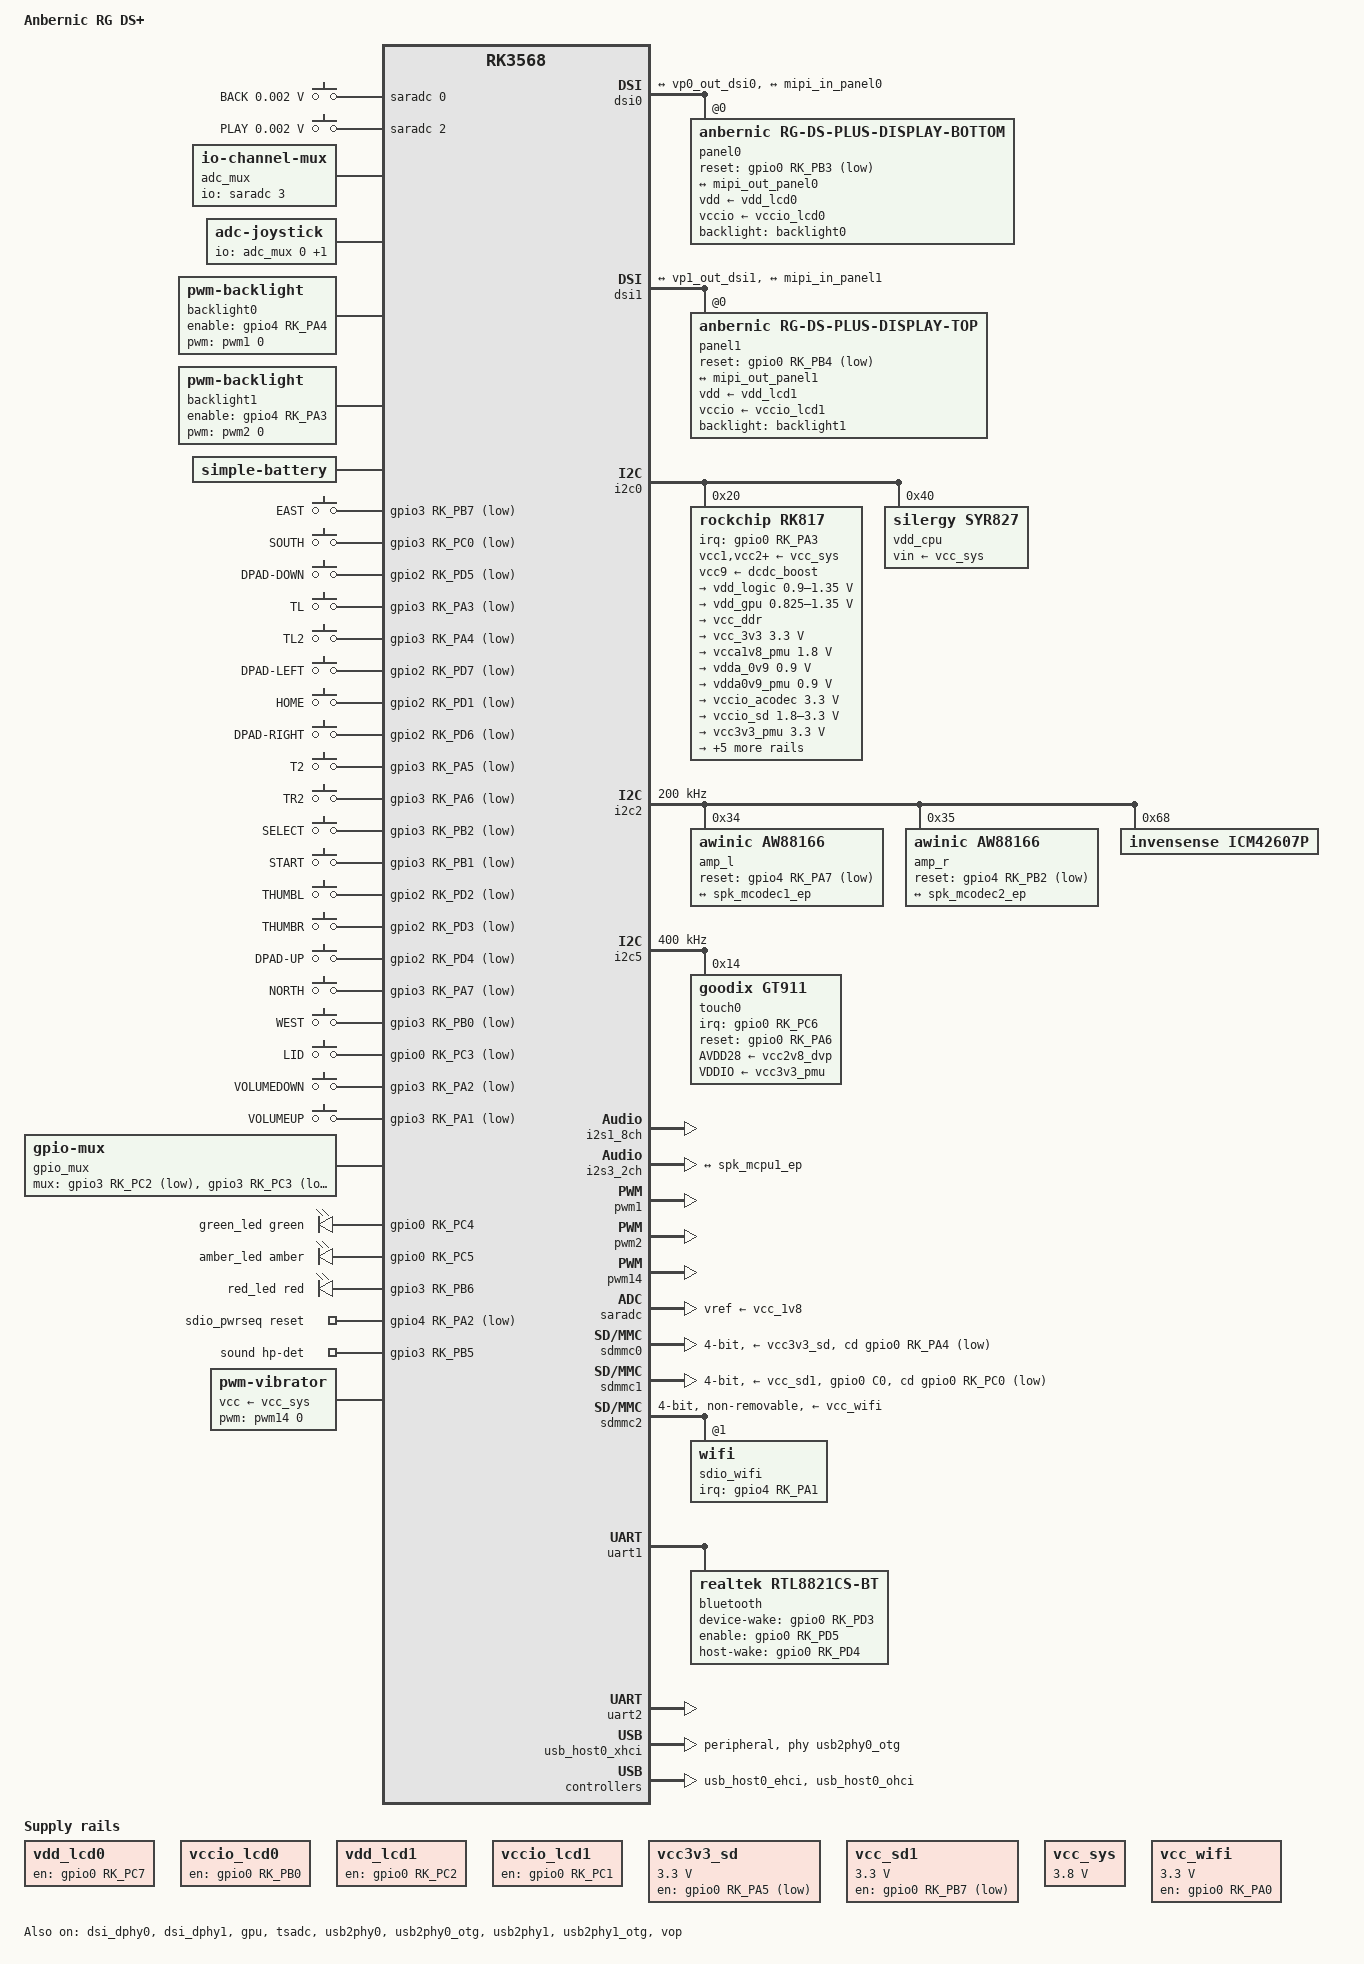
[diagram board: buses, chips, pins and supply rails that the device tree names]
// SPDX-License-Identifier: (GPL-2.0+ OR MIT)
/*
 * Anbernic RG DS+ (RK3568, two 1024x768 MIPI-DSI panels, one touch screen).
 *
 * Derived from the mainline rk3568-anbernic-rg-ds.dts. The board is the same
 * family: buttons, sticks, lid sensor, panel power/reset and Wi-Fi/BT sit on the
 * same pins. Differences below come from the DS+ stock firmware's device tree
 * (V1.0 20260915) and were checked on a device:
 *  - panels: Jadard JD9165, 1024x768, top panel mounted rotated 180 degrees
 *  - backlights on pwm1/pwm2 (GPIO0_B5/B6), where the RG DS has touch pins
 *  - one GT9xx touch screen on i2c5, reset GPIO0_A6, irq GPIO0_C6
 *  - speakers: two AW88166 smart amps on i2c2 0x34/0x35, fed by I2S3 (m1)
 *  - headphone detect on GPIO3_B5; status LEDs are plain GPIOs
 *  - a second microSD slot (sdmmc1, TF2); no eMMC
 */

/dts-v1/;

#include <dt-bindings/gpio/gpio.h>
#include <dt-bindings/input/gpio-keys.h>
#include <dt-bindings/input/linux-event-codes.h>
#include <dt-bindings/leds/common.h>
#include <dt-bindings/pinctrl/rockchip.h>
#include <dt-bindings/soc/rockchip,vop2.h>
#include "rk3568.dtsi"

/ {
	model = "Anbernic RG DS+";
	chassis-type = "handset";
	compatible = "anbernic,rg-ds-plus", "rockchip,rk3568";

	/* TF1 (the boot card) is mmc0, TF2 is mmc1. */
	aliases {
		mmc0 = &sdmmc0;
		mmc1 = &sdmmc1;
		mmc2 = &sdmmc2;
	};

	chosen: chosen {
		stdout-path = "serial2:1500000n8";
	};

	/*
	 * U-Boot's boot-stage timings (BOOTSTAGE_STASH) and, in a MEASURE build,
	 * its console log at +0x4000; readable via /dev/mem.
	 */
	reserved-memory {
		#address-cells = <2>;
		#size-cells = <2>;
		ranges;

		bootstage@f000000 {
			reg = <0x0 0x0f000000 0x0 0x20000>;
			no-map;
		};
	};

	/* The stock DS+ firmware gives this key KEY_BACK (the RG DS tree, BTN_MODE). */
	adc_keys_back: adc-keys-back {
		compatible = "adc-keys";
		io-channel-names = "buttons";
		io-channels = <&saradc 0>;
		keyup-threshold-microvolt = <1800000>;
		poll-interval = <60>;

		button-back {
			label = "BACK";
			linux,code = <KEY_BACK>;
			press-threshold-microvolt = <1750>;
		};
	};

	adc_keys_play: adc-keys-play {
		compatible = "adc-keys";
		io-channel-names = "buttons";
		io-channels = <&saradc 2>;
		keyup-threshold-microvolt = <1300000>;
		poll-interval = <60>;

		button-play {
			label = "PLAY";
			linux,code = <KEY_PLAYPAUSE>;
			press-threshold-microvolt = <1750>;
		};
	};

	adc_mux: adc-mux {
		compatible = "io-channel-mux";
		channels = "left_x", "right_x", "left_y", "right_y";
		#io-channel-cells = <1>;
		io-channels = <&saradc 3>;
		io-channel-names = "parent";
		mux-controls = <&gpio_mux>;
		settle-time-us = <100>;
	};

	/*
	 * The DS+ has one stick. The mux's other two inputs read the same stick
	 * again (channel 1 follows channel 0, channel 3 follows channel 2), so
	 * only channels 0 (horizontal) and 2 (vertical) are used. Vertical reads
	 * the other way round from the RG DS's left stick.
	 */
	adc-joystick {
		compatible = "adc-joystick";
		#address-cells = <1>;
		io-channels = <&adc_mux 0>,
			      <&adc_mux 2>;
		pinctrl-0 = <&joy_mux_en>;
		pinctrl-names = "default";
		poll-interval = <60>;
		#size-cells = <0>;

		axis@0 {
			reg = <0>;
			abs-flat = <32>;
			abs-fuzz = <32>;
			abs-range = <1023 15>;
			linux,code = <ABS_X>;
		};

		axis@1 {
			reg = <1>;
			abs-flat = <32>;
			abs-fuzz = <32>;
			abs-range = <1023 15>;
			linux,code = <ABS_Y>;
		};
	};

	backlight0: backlight0 {
		compatible = "pwm-backlight";
		enable-gpios = <&gpio4 RK_PA4 GPIO_ACTIVE_HIGH>;
		pinctrl-0 = <&bl0_en_h>;
		pinctrl-names = "default";
		pwms = <&pwm1 0 25000 0>;
	};

	backlight1: backlight1 {
		compatible = "pwm-backlight";
		enable-gpios = <&gpio4 RK_PA3 GPIO_ACTIVE_HIGH>;
		pinctrl-0 = <&bl1_en_h>;
		pinctrl-names = "default";
		pwms = <&pwm2 0 25000 0>;
	};

	/*
	 * As on the RG DS, except the design capacity, which the DS+ stock
	 * firmware gives as 4247 mAh (rk817 design_capacity and cw2015
	 * battery_cap). The OCV table is the RG DS one until measured.
	 *
	 * The charge current is the stock firmware's (its BSP charger node:
	 * max_chrg_current 2000 mA, max_input_current 1500 mA, which the
	 * driver also uses); the RG DS value this replaced, 10 A, was a
	 * placeholder. The voltage is the cell's 4.35 V (the stock charger
	 * node asks for 4.4 V, above it). docs/engineering/battery.md.
	 */
	battery: battery {
		compatible = "simple-battery";
		charge-full-design-microamp-hours = <4247000>;
		charge-term-current-microamp = <300000>;
		constant-charge-current-max-microamp = <2000000>;
		constant-charge-voltage-max-microvolt = <4350000>;
		factory-internal-resistance-micro-ohms = <80000>;
		precharge-current-microamp = <180000>;
		precharge-upper-limit-microvolt = <3600000>;
		voltage-max-design-microvolt = <4350000>;
		voltage-min-design-microvolt = <3000000>;

		/*
		 * BSP device-tree missing value for 5 percent, so I
		 * picked a value between 10 and 0.
		 */
		ocv-capacity-celsius = <20>;
		ocv-capacity-table-0 =  <4338000 100>, <4251000 95>,
					<4191000 90>, <4136000 85>,
					<4083000 80>, <4039000 75>,
					<3978000 70>, <3947000 65>,
					<3908000 60>, <3861000 55>,
					<3826000 50>, <3786000 45>,
					<3772000 40>, <3761000 35>,
					<3749000 30>, <3731000 25>,
					<3707000 20>, <3677000 15>,
					<3663000 10>, <3446000 5>,
					<3400000 0>;
	};

	gpio_keys_control: gpio-keys-control {
		compatible = "gpio-keys";
		pinctrl-0 = <&gamepad_keys_l>;
		pinctrl-names = "default";

		button-a {
			gpios = <&gpio3 RK_PB7 GPIO_ACTIVE_LOW>;
			label = "EAST";
			linux,code = <BTN_EAST>;
		};

		button-b {
			gpios = <&gpio3 RK_PC0 GPIO_ACTIVE_LOW>;
			label = "SOUTH";
			linux,code = <BTN_SOUTH>;
		};

		button-down {
			gpios = <&gpio2 RK_PD5 GPIO_ACTIVE_LOW>;
			label = "DPAD-DOWN";
			linux,code = <BTN_DPAD_DOWN>;
		};

		button-l1 {
			gpios = <&gpio3 RK_PA3 GPIO_ACTIVE_LOW>;
			label = "TL";
			linux,code = <BTN_TL>;
		};

		button-l2 {
			gpios = <&gpio3 RK_PA4 GPIO_ACTIVE_LOW>;
			label = "TL2";
			linux,code = <BTN_TL2>;
		};

		button-left {
			gpios = <&gpio2 RK_PD7 GPIO_ACTIVE_LOW>;
			label = "DPAD-LEFT";
			linux,code = <BTN_DPAD_LEFT>;
		};

		button-menu {
			gpios = <&gpio2 RK_PD1 GPIO_ACTIVE_LOW>;
			label = "HOME";
			linux,code = <KEY_HOME>;
		};

		button-right {
			gpios = <&gpio2 RK_PD6 GPIO_ACTIVE_LOW>;
			label = "DPAD-RIGHT";
			linux,code = <BTN_DPAD_RIGHT>;
		};

		button-r1 {
			gpios = <&gpio3 RK_PA5 GPIO_ACTIVE_LOW>;
			label = "T2";
			linux,code = <BTN_TR>;
		};

		button-r2 {
			gpios = <&gpio3 RK_PA6 GPIO_ACTIVE_LOW>;
			label = "TR2";
			linux,code = <BTN_TR2>;
		};

		button-select {
			gpios = <&gpio3 RK_PB2 GPIO_ACTIVE_LOW>;
			label = "SELECT";
			linux,code = <BTN_SELECT>;
		};

		button-start {
			gpios = <&gpio3 RK_PB1 GPIO_ACTIVE_LOW>;
			label = "START";
			linux,code = <BTN_START>;
		};

		button-thumbl {
			gpios = <&gpio2 RK_PD2 GPIO_ACTIVE_LOW>;
			label = "THUMBL";
			linux,code = <BTN_THUMBL>;
		};

		button-thumbr {
			gpios = <&gpio2 RK_PD3 GPIO_ACTIVE_LOW>;
			label = "THUMBR";
			linux,code = <BTN_THUMBR>;
		};

		button-up {
			gpios = <&gpio2 RK_PD4 GPIO_ACTIVE_LOW>;
			label = "DPAD-UP";
			linux,code = <BTN_DPAD_UP>;
		};

		button-x {
			gpios = <&gpio3 RK_PA7 GPIO_ACTIVE_LOW>;
			label = "NORTH";
			linux,code = <BTN_NORTH>;
		};

		button-y {
			gpios = <&gpio3 RK_PB0 GPIO_ACTIVE_LOW>;
			label = "WEST";
			linux,code = <BTN_WEST>;
		};
	};

	gpio_keys_hall: gpio-keys-hall {
		compatible = "gpio-keys";
		pinctrl-0 = <&hall_int_l>;
		pinctrl-names = "default";

		lid-switch {
			gpios = <&gpio0 RK_PC3 GPIO_ACTIVE_LOW>;
			label = "LID";
			linux,code = <SW_LID>;
			linux,input-type = <EV_SW>;
			wakeup-event-action = <EV_ACT_DEASSERTED>;
			wakeup-source;
		};
	};

	gpio_keys_volume: gpio-keys-volume {
		compatible = "gpio-keys";
		autorepeat;
		pinctrl-0 = <&vol_keys_l>;
		pinctrl-names = "default";

		vol-down-key {
			gpios = <&gpio3 RK_PA2 GPIO_ACTIVE_LOW>;
			label = "VOLUMEDOWN";
			linux,code = <KEY_VOLUMEDOWN>;
		};

		vol-up-key {
			gpios = <&gpio3 RK_PA1 GPIO_ACTIVE_LOW>;
			label = "VOLUMEUP";
			linux,code = <KEY_VOLUMEUP>;
		};
	};

	gpio_mux: mux-controller {
		compatible = "gpio-mux";
		#mux-control-cells = <0>;
		mux-gpios = <&gpio3 RK_PC2 GPIO_ACTIVE_LOW>,
			    <&gpio3 RK_PC3 GPIO_ACTIVE_LOW>;
		pinctrl-0 = <&joy_mux_config>;
		pinctrl-names = "default";
	};

	leds: gpio-leds {
		compatible = "gpio-leds";
		pinctrl-0 = <&led_pins>;
		pinctrl-names = "default";

		green_led: led-0 {
			color = <LED_COLOR_ID_GREEN>;
			default-state = "on";
			function = LED_FUNCTION_POWER;
			gpios = <&gpio0 RK_PC4 GPIO_ACTIVE_HIGH>;
		};

		/*
		 * Lit while the charger is plugged in, asleep too: leds-gpio
		 * would turn it off at suspend. GPIO0 is in the PMU domain and
		 * keeps its level in deep sleep; plugging in or out wakes the
		 * device (the RK817's interrupt), which sets it again.
		 */
		amber_led: led-1 {
			color = <LED_COLOR_ID_AMBER>;
			function = LED_FUNCTION_CHARGING;
			gpios = <&gpio0 RK_PC5 GPIO_ACTIVE_HIGH>;
			retain-state-suspended;
		};

		red_led: led-2 {
			color = <LED_COLOR_ID_RED>;
			default-state = "off";
			function = LED_FUNCTION_STATUS;
			gpios = <&gpio3 RK_PB6 GPIO_ACTIVE_HIGH>;
		};
	};

	sdio_pwrseq: sdio-pwrseq {
		compatible = "mmc-pwrseq-simple";
		clock-names = "ext_clock";
		clocks = <&rk817 1>;
		pinctrl-0 = <&wifi_enable_h>;
		pinctrl-names = "default";
		post-power-on-delay-ms = <200>;
		reset-gpios = <&gpio4 RK_PA2 GPIO_ACTIVE_LOW>;
	};

	/* Headphones and microphone, through the RK817 codec. */
	sound {
		compatible = "simple-audio-card";
		pinctrl-0 = <&hp_det>;
		pinctrl-names = "default";
		simple-audio-card,format = "i2s";
		simple-audio-card,hp-det-gpios = <&gpio3 RK_PB5 GPIO_ACTIVE_HIGH>;
		simple-audio-card,mclk-fs = <256>;
		simple-audio-card,name = "rk817_ext";
		simple-audio-card,routing =
			"MICL", "Mic Jack",
			"Headphones", "HPOL",
			"Headphones", "HPOR";
		simple-audio-card,widgets =
			"Microphone", "Mic Jack",
			"Headphone", "Headphones";

		simple-audio-card,codec {
			sound-dai = <&rk817>;
		};

		simple-audio-card,cpu {
			sound-dai = <&i2s1_8ch>;
		};
	};

	/*
	 * Internal speakers: two AW88166 smart amps on I2S3, both fed the same
	 * stereo stream (each picks its channel). simple-audio-card takes one codec
	 * per link, so this is an audio-graph-card2 one-CPU, two-codec link.
	 */
	sound-speakers {
		compatible = "audio-graph-card2";
		label = "speakers";
		links = <&spk_mcpu>;

		multi {
			#address-cells = <1>;
			#size-cells = <0>;

			ports@0 {
				reg = <0>;
				#address-cells = <1>;
				#size-cells = <0>;

				spk_mcpu: port@0 {
					reg = <0>;
					spk_mcpu0_ep: endpoint {
						remote-endpoint = <&spk_mcodec0_ep>;
					};
				};

				port@1 {
					reg = <1>;
					spk_mcpu1_ep: endpoint {
						remote-endpoint = <&i2s3_ep>;
					};
				};
			};

			ports@1 {
				reg = <1>;
				#address-cells = <1>;
				#size-cells = <0>;

				port@0 {
					reg = <0>;
					spk_mcodec0_ep: endpoint {
						remote-endpoint = <&spk_mcpu0_ep>;
					};
				};

				port@1 {
					reg = <1>;
					spk_mcodec1_ep: endpoint {
						remote-endpoint = <&amp_l_ep>;
					};
				};

				port@2 {
					reg = <2>;
					spk_mcodec2_ep: endpoint {
						remote-endpoint = <&amp_r_ep>;
					};
				};
			};
		};
	};

	vdd_lcd0: regulator-vdd-lcd0 {
		compatible = "regulator-fixed";
		enable-active-high;
		gpio = <&gpio0 RK_PC7 GPIO_ACTIVE_HIGH>;
		pinctrl-0 = <&vdd_lcd0_h>;
		pinctrl-names = "default";
		regulator-name = "vdd_lcd0";
		regulator-state-mem {
			regulator-off-in-suspend;
		};
	};

	vccio_lcd0: regulator-vccio-lcd0 {
		compatible = "regulator-fixed";
		enable-active-high;
		gpio = <&gpio0 RK_PB0 GPIO_ACTIVE_HIGH>;
		pinctrl-0 = <&vccio_lcd0_h>;
		pinctrl-names = "default";
		regulator-name = "vccio_lcd0";
		regulator-state-mem {
			regulator-off-in-suspend;
		};
	};

	vdd_lcd1: regulator-vdd-lcd1 {
		compatible = "regulator-fixed";
		enable-active-high;
		gpio = <&gpio0 RK_PC2 GPIO_ACTIVE_HIGH>;
		pinctrl-0 = <&vdd_lcd1_h>;
		pinctrl-names = "default";
		regulator-name = "vdd_lcd1";
		regulator-state-mem {
			regulator-off-in-suspend;
		};
	};

	vccio_lcd1: regulator-vccio-lcd1 {
		compatible = "regulator-fixed";
		enable-active-high;
		gpio = <&gpio0 RK_PC1 GPIO_ACTIVE_HIGH>;
		pinctrl-0 = <&vccio_lcd1_h>;
		pinctrl-names = "default";
		regulator-name = "vccio_lcd1";
		regulator-state-mem {
			regulator-off-in-suspend;
		};
	};

	/*
	 * The SD slots' power switches have no vin-supply, as in the stock DTB:
	 * the RG DS tree's vccio_sd (an rk817 LDO that drops to 1.8 V for UHS)
	 * can't be what feeds 3.3 V to the card, and a supply on the PMIC made
	 * both switches, and so both SD controllers, wait for late initcalls.
	 */
	vcc3v3_sd: regulator-vcc3v3-sd {
		compatible = "regulator-fixed";
		gpio = <&gpio0 RK_PA5 GPIO_ACTIVE_HIGH>;
		pinctrl-0 = <&sdmmc_pwren_l>;
		pinctrl-names = "default";
		regulator-always-on;
		regulator-boot-on;
		regulator-name = "vcc3v3_sd";
		regulator-min-microvolt = <3300000>;
		regulator-max-microvolt = <3300000>;
	};

	vcc_sd1: regulator-vcc-sd1 {
		compatible = "regulator-fixed";
		gpio = <&gpio0 RK_PB7 GPIO_ACTIVE_LOW>;
		pinctrl-0 = <&sdmmc1_pwren_l>;
		pinctrl-names = "default";
		regulator-name = "vcc_sd1";
		regulator-min-microvolt = <3300000>;
		regulator-max-microvolt = <3300000>;
	};

	vcc_sys: regulator-vcc-sys {
		compatible = "regulator-fixed";
		regulator-always-on;
		regulator-boot-on;
		regulator-min-microvolt = <3800000>;
		regulator-max-microvolt = <3800000>;
		regulator-name = "vcc_sys";
	};

	vibrator: pwm-vibrator {
		compatible = "pwm-vibrator";
		pwm-names = "enable";
		pwms = <&pwm14 0 100000 0>;
		vcc-supply = <&vcc_sys>;
	};

	vcc_wifi: regulator-vcc-wifi {
		compatible = "regulator-fixed";
		enable-active-high;
		gpio = <&gpio0 RK_PA0 GPIO_ACTIVE_HIGH>;
		pinctrl-0 = <&vcc_wifi_h>;
		pinctrl-names = "default";
		regulator-always-on;
		regulator-boot-on;
		regulator-min-microvolt = <3300000>;
		regulator-max-microvolt = <3300000>;
		regulator-name = "vcc_wifi";
	};
};

&cpu0 {
	cpu-supply = <&vdd_cpu>;
};

&cpu1 {
	cpu-supply = <&vdd_cpu>;
};

&cpu2 {
	cpu-supply = <&vdd_cpu>;
};

&cpu3 {
	cpu-supply = <&vdd_cpu>;
};

&cru {
	/*
	 * VPLL feeds only the two panels' dclks, which can't change its rate.
	 * The panels want 62.8 MHz (1304x800 at 60.2 Hz); the RG DS tree's
	 * 292.5 MHz gave 292.5/5 = 58.5 MHz, 56.08 Hz. 1188 MHz (a CRU table
	 * rate) divides to 1188/19 = 62.526 MHz: 59.94 Hz on both panels.
	 */
	assigned-clocks = <&pmucru CLK_RTC_32K>, <&cru PLL_GPLL>,
			  <&pmucru PLL_PPLL>, <&cru PLL_VPLL>;
	assigned-clock-rates = <32768>, <1200000000>,
			       <200000000>, <1188000000>;
};

&dsi0 {
	status = "okay";
	#address-cells = <1>;
	#size-cells = <0>;

	ports {
		dsi0_in: port@0 {
			reg = <0>;
			dsi0_in_vp0: endpoint {
				remote-endpoint = <&vp0_out_dsi0>;
			};
		};

		dsi0_out: port@1 {
			reg = <1>;
			mipi_out_panel0: endpoint {
				remote-endpoint = <&mipi_in_panel0>;
			};
		};
	};

	panel0: panel@0 {
		compatible = "anbernic,rg-ds-plus-display-bottom";
		reg = <0>;
		backlight = <&backlight0>;
		pinctrl-0 = <&lcd0_rst>;
		pinctrl-names = "default";
		reset-gpios = <&gpio0 RK_PB3 GPIO_ACTIVE_LOW>;
		vdd-supply = <&vdd_lcd0>;
		vccio-supply = <&vccio_lcd0>;

		port {
			mipi_in_panel0: endpoint {
				remote-endpoint = <&mipi_out_panel0>;
			};
		};
	};
};

&dsi1 {
	status = "okay";
	#address-cells = <1>;
	#size-cells = <0>;

	ports {
		dsi1_in: port@0 {
			reg = <0>;
			dsi1_in_vp1: endpoint {
				remote-endpoint = <&vp1_out_dsi1>;
			};
		};

		dsi1_out: port@1 {
			reg = <1>;
			mipi_out_panel1: endpoint {
				remote-endpoint = <&mipi_in_panel1>;
			};
		};
	};

	panel1: panel@0 {
		compatible = "anbernic,rg-ds-plus-display-top";
		reg = <0>;
		backlight = <&backlight1>;
		pinctrl-0 = <&lcd1_rst>;
		pinctrl-names = "default";
		reset-gpios = <&gpio0 RK_PB4 GPIO_ACTIVE_LOW>;
		vdd-supply = <&vdd_lcd1>;
		vccio-supply = <&vccio_lcd1>;

		port {
			mipi_in_panel1: endpoint {
				remote-endpoint = <&mipi_out_panel1>;
			};
		};
	};
};

&dsi_dphy0 {
	status = "okay";
};

&dsi_dphy1 {
	status = "okay";
};

&gpu {
	mali-supply = <&vdd_gpu>;
	status = "okay";
};

&i2c0 {
	status = "okay";

	rk817: pmic@20 {
		compatible = "rockchip,rk817";
		reg = <0x20>;
		assigned-clock-parents = <&cru CLK_I2S1_8CH_TX>;
		assigned-clocks = <&cru I2S1_MCLKOUT_TX>;
		#clock-cells = <1>;
		clock-names = "mclk";
		clock-output-names = "rk808-clkout1", "rk808-clkout2";
		clocks = <&cru I2S1_MCLKOUT_TX>;
		interrupt-parent = <&gpio0>;
		interrupts = <RK_PA3 IRQ_TYPE_LEVEL_LOW>;
		pinctrl-0 = <&i2s1m0_mclk &pmic_int_l>;
		pinctrl-names = "default";
		#sound-dai-cells = <0>;
		system-power-controller;
		wakeup-source;

		vcc1-supply = <&vcc_sys>;
		vcc2-supply = <&vcc_sys>;
		vcc3-supply = <&vcc_sys>;
		vcc4-supply = <&vcc_sys>;
		vcc5-supply = <&vcc_sys>;
		vcc6-supply = <&vcc_sys>;
		vcc7-supply = <&vcc_sys>;
		vcc8-supply = <&vcc_sys>;
		vcc9-supply = <&dcdc_boost>;

		regulators {
			vdd_logic: DCDC_REG1 {
				regulator-always-on;
				regulator-boot-on;
				regulator-initial-mode = <0x2>;
				regulator-max-microvolt = <1350000>;
				regulator-min-microvolt = <900000>;
				regulator-name = "vdd_logic";
				regulator-ramp-delay = <6001>;
				regulator-state-mem {
					regulator-on-in-suspend;
					regulator-suspend-microvolt = <900000>;
				};
			};

			vdd_gpu: DCDC_REG2 {
				regulator-always-on;
				regulator-boot-on;
				regulator-initial-mode = <0x2>;
				regulator-max-microvolt = <1350000>;
				regulator-min-microvolt = <825000>;
				regulator-name = "vdd_gpu";
				regulator-ramp-delay = <6001>;
				regulator-state-mem {
					regulator-off-in-suspend;
				};
			};

			vcc_ddr: DCDC_REG3 {
				regulator-always-on;
				regulator-boot-on;
				regulator-initial-mode = <0x2>;
				regulator-name = "vcc_ddr";
				regulator-state-mem {
					regulator-on-in-suspend;
				};
			};

			vcc_3v3: DCDC_REG4 {
				regulator-always-on;
				regulator-boot-on;
				regulator-initial-mode = <0x2>;
				regulator-max-microvolt = <3300000>;
				regulator-min-microvolt = <3300000>;
				regulator-name = "vcc_3v3";
				regulator-state-mem {
					regulator-on-in-suspend;
					regulator-suspend-microvolt = <3300000>;
				};
			};

			vcca1v8_pmu: LDO_REG1 {
				regulator-always-on;
				regulator-boot-on;
				regulator-max-microvolt = <1800000>;
				regulator-min-microvolt = <1800000>;
				regulator-name = "vcca1v8_pmu";
				regulator-state-mem {
					regulator-on-in-suspend;
					regulator-suspend-microvolt = <1800000>;
				};
			};

			vdda_0v9: LDO_REG2 {
				regulator-always-on;
				regulator-boot-on;
				regulator-max-microvolt = <900000>;
				regulator-min-microvolt = <900000>;
				regulator-name = "vdda_0v9";
				regulator-state-mem {
					regulator-off-in-suspend;
				};
			};

			vdda0v9_pmu: LDO_REG3 {
				regulator-always-on;
				regulator-boot-on;
				regulator-max-microvolt = <900000>;
				regulator-min-microvolt = <900000>;
				regulator-name = "vdda0v9_pmu";
				regulator-state-mem {
					regulator-on-in-suspend;
					regulator-suspend-microvolt = <900000>;
				};
			};

			vccio_acodec: LDO_REG4 {
				regulator-always-on;
				regulator-boot-on;
				regulator-max-microvolt = <3300000>;
				regulator-min-microvolt = <3300000>;
				regulator-name = "vccio_acodec";
				regulator-state-mem {
					regulator-off-in-suspend;
				};
			};

			vccio_sd: LDO_REG5 {
				regulator-always-on;
				regulator-boot-on;
				regulator-max-microvolt = <3300000>;
				regulator-min-microvolt = <1800000>;
				regulator-name = "vccio_sd";
				regulator-state-mem {
					regulator-off-in-suspend;
				};
			};

			vcc3v3_pmu: LDO_REG6 {
				regulator-always-on;
				regulator-boot-on;
				regulator-max-microvolt = <3300000>;
				regulator-min-microvolt = <3300000>;
				regulator-name = "vcc3v3_pmu";
				regulator-state-mem {
					regulator-on-in-suspend;
					regulator-suspend-microvolt = <3300000>;
				};
			};

			vcc_1v8: LDO_REG7 {
				regulator-always-on;
				regulator-boot-on;
				regulator-max-microvolt = <1800000>;
				regulator-min-microvolt = <1800000>;
				regulator-name = "vcc_1v8";
				regulator-state-mem {
					regulator-on-in-suspend;
				};
			};

			vcc1v8_dvp: LDO_REG8 {
				regulator-always-on;
				regulator-boot-on;
				regulator-max-microvolt = <3300000>;
				regulator-min-microvolt = <1800000>;
				regulator-name = "vcc1v8_dvp";
				regulator-state-mem {
					regulator-off-in-suspend;
				};
			};

			vcc2v8_dvp: LDO_REG9 {
				regulator-always-on;
				regulator-boot-on;
				regulator-max-microvolt = <2800000>;
				regulator-min-microvolt = <2800000>;
				regulator-name = "vcc2v8_dvp";
				regulator-state-mem {
					regulator-off-in-suspend;
				};
			};

			dcdc_boost: BOOST {
				regulator-always-on;
				regulator-boot-on;
				regulator-max-microvolt = <5400000>;
				regulator-min-microvolt = <4700000>;
				regulator-name = "boost";
				regulator-state-mem {
					regulator-off-in-suspend;
				};
			};

			otg_switch: OTG_SWITCH {
				regulator-name = "otg_switch";
				regulator-state-mem {
					regulator-off-in-suspend;
				};
			};
		};

	       rk817_charger: charger {
			monitored-battery = <&battery>;
			rockchip,resistor-sense-micro-ohms = <10000>;
			rockchip,sleep-enter-current-microamp = <150000>;
			rockchip,sleep-filter-current-microamp = <100000>;
		};
	};

	vdd_cpu: regulator@40 {
		compatible = "silergy,syr827";
		reg = <0x40>;
		fcs,suspend-voltage-selector = <1>;
		regulator-always-on;
		regulator-boot-on;
		regulator-max-microvolt = <1390000>;
		regulator-min-microvolt = <712500>;
		regulator-name = "vdd_cpu";
		regulator-ramp-delay = <2300>;
		vin-supply = <&vcc_sys>;
		regulator-state-mem {
			regulator-off-in-suspend;
		};
	};

	/*
	 * Currently the rk817_charger and the cw2015 don't work together.
	 * Disable the cw2015 for now because it performs the same function
	 * as the rk817_charger for battery monitoring.
	 */
	cw2015: battery@62 {
		compatible = "cellwise,cw2015";
		reg = <0x62>;
		cellwise,battery-profile = /bits/ 8
				< 0x17 0x67 0x80 0x6E 0x68 0x64 0x61 0x55
				 0x71 0x53 0x54 0x56 0x4F 0x4E 0x46 0x38
				 0x2D 0x25 0x20 0x1B 0x20 0x29 0x3B 0x49
				 0x3A 0x15 0x0D 0x91 0x3E 0x5F 0x5E 0x76
				 0x80 0x7D 0x80 0x81 0x3B 0x1A 0x6C 0x6C
				 0x0B 0x41 0x1C 0x4D 0x80 0x95 0xA0 0x14
				 0x38 0x7E 0x98 0xA3 0x80 0x8A 0x9D 0xCB
				 0x2F 0x00 0x64 0xA5 0xB5 0xC1 0x46 0xAE>;
		cellwise,monitor-interval-ms = <5000>;
		monitored-battery = <&battery>;
		power-supplies = <&rk817_charger>;
		status = "disabled";
	};
};

&i2c2 {
	clock-frequency = <200000>;
	pinctrl-0 = <&i2c2m1_xfer>;
	pinctrl-names = "default";
	status = "okay";

	amp_l: audio-codec@34 {
		compatible = "awinic,aw88166";
		reg = <0x34>;
		#sound-dai-cells = <0>;
		awinic,audio-channel = <0>;
		awinic,sync-flag;
		pinctrl-0 = <&amp_l_rst>;
		pinctrl-names = "default";
		reset-gpios = <&gpio4 RK_PA7 GPIO_ACTIVE_LOW>;
		sound-name-prefix = "Left Amp";

		port {
			amp_l_ep: endpoint {
				remote-endpoint = <&spk_mcodec1_ep>;
			};
		};
	};

	amp_r: audio-codec@35 {
		compatible = "awinic,aw88166";
		reg = <0x35>;
		#sound-dai-cells = <0>;
		awinic,audio-channel = <1>;
		awinic,sync-flag;
		pinctrl-0 = <&amp_r_rst>;
		pinctrl-names = "default";
		reset-gpios = <&gpio4 RK_PB2 GPIO_ACTIVE_LOW>;
		sound-name-prefix = "Right Amp";

		port {
			amp_r_ep: endpoint {
				remote-endpoint = <&spk_mcodec2_ep>;
			};
		};
	};

	/* Listed (disabled) in the DS+ stock tree as icm42607 at 0x68. */
	icm42607p: imu@68 {
		compatible = "invensense,icm42607p";
		reg = <0x68>;
		mount-matrix = "-1", "0", "0",
			       "0", "1", "0",
			       "0", "0", "-1";
	};
};

&i2c5 {
	clock-frequency = <400000>;
	pinctrl-0 = <&i2c5m0_xfer>;
	pinctrl-names = "default";
	status = "okay";

	touch0: touchscreen@14 {
		compatible = "goodix,gt911";
		reg = <0x14>;
		AVDD28-supply = <&vcc2v8_dvp>;
		interrupt-parent = <&gpio0>;
		interrupts = <RK_PC6 IRQ_TYPE_LEVEL_LOW>;
		irq-gpios = <&gpio0 RK_PC6 GPIO_ACTIVE_HIGH>;
		panel = <&panel0>;
		reset-gpios = <&gpio0 RK_PA6 GPIO_ACTIVE_HIGH>;
		touchscreen-size-x = <1024>;
		touchscreen-size-y = <768>;
		pinctrl-0 = <&touch0_rst &touch0_irq>;
		pinctrl-names = "default";
		VDDIO-supply = <&vcc3v3_pmu>;
	};

	/* Unused iSmartWare SW2001 encryption device at 0x3c */
};

&i2s1_8ch {
	pinctrl-0 = <&i2s1m0_sclktx &i2s1m0_lrcktx &i2s1m0_sdi0 &i2s1m0_sdo0>;
	pinctrl-names = "default";
	rockchip,trcm-sync-tx-only;
	status = "okay";
};

&i2s3_2ch {
	pinctrl-0 = <&i2s3m1_sclk &i2s3m1_lrck &i2s3m1_sdi &i2s3m1_sdo &i2s3m1_mclk>;
	pinctrl-names = "default";
	rockchip,trcm-sync-tx-only;
	status = "okay";

	/* The amps can't provide the I2S clocks; the SoC does. */
	port {
		bitclock-master;
		frame-master;

		i2s3_ep: endpoint {
			dai-format = "i2s";
			mclk-fs = <256>;
			remote-endpoint = <&spk_mcpu1_ep>;
		};
	};
};

&pinctrl {
	gpio-keys {
		vol_keys_l: vol-keys_l {
			rockchip,pins =
				<3 RK_PA1 RK_FUNC_GPIO &pcfg_pull_up>,
				<3 RK_PA2 RK_FUNC_GPIO &pcfg_pull_up>;
		};

		gamepad_keys_l: gamepad-keys-l {
			rockchip,pins =
				<2 RK_PD1 RK_FUNC_GPIO &pcfg_pull_up>,
				<2 RK_PD2 RK_FUNC_GPIO &pcfg_pull_up>,
				<2 RK_PD3 RK_FUNC_GPIO &pcfg_pull_up>,
				<2 RK_PD4 RK_FUNC_GPIO &pcfg_pull_up>,
				<2 RK_PD5 RK_FUNC_GPIO &pcfg_pull_up>,
				<2 RK_PD6 RK_FUNC_GPIO &pcfg_pull_up>,
				<2 RK_PD7 RK_FUNC_GPIO &pcfg_pull_up>,
				<3 RK_PA3 RK_FUNC_GPIO &pcfg_pull_up>,
				<3 RK_PA4 RK_FUNC_GPIO &pcfg_pull_up>,
				<3 RK_PA5 RK_FUNC_GPIO &pcfg_pull_up>,
				<3 RK_PA6 RK_FUNC_GPIO &pcfg_pull_up>,
				<3 RK_PA7 RK_FUNC_GPIO &pcfg_pull_up>,
				<3 RK_PB0 RK_FUNC_GPIO &pcfg_pull_up>,
				<3 RK_PB1 RK_FUNC_GPIO &pcfg_pull_up>,
				<3 RK_PB2 RK_FUNC_GPIO &pcfg_pull_up>,
				<3 RK_PB7 RK_FUNC_GPIO &pcfg_pull_up>,
				<3 RK_PC0 RK_FUNC_GPIO &pcfg_pull_up>;
		};
	};

	gpio-lcd {
		lcd0_rst: lcd0-rst {
			rockchip,pins =
				<0 RK_PB3 RK_FUNC_GPIO &pcfg_pull_none>;
		};

		lcd1_rst: lcd1-rst {
			rockchip,pins =
				<0 RK_PB4 RK_FUNC_GPIO &pcfg_pull_none>;
		};
	};

	hall-sensor {
		hall_int_l: hal-int-l {
			rockchip,pins =
				<0 RK_PC3 RK_FUNC_GPIO &pcfg_pull_none>;
		};
	};

	backlight {
		bl0_en_h: bl0-en-h {
			rockchip,pins =
				<4 RK_PA4 RK_FUNC_GPIO &pcfg_pull_none>;
		};

		bl1_en_h: bl1-en-h {
			rockchip,pins =
				<4 RK_PA3 RK_FUNC_GPIO &pcfg_pull_none>;
		};
	};

	hp-detect {
		hp_det: hp-det {
			rockchip,pins =
				<3 RK_PB5 RK_FUNC_GPIO &pcfg_pull_none>;
		};
	};

	leds {
		led_pins: led-pins {
			rockchip,pins =
				<0 RK_PC4 RK_FUNC_GPIO &pcfg_pull_none>,
				<0 RK_PC5 RK_FUNC_GPIO &pcfg_pull_none>,
				<3 RK_PB6 RK_FUNC_GPIO &pcfg_pull_none>;
		};
	};

	joy-mux {
		joy_mux_en: joy-mux-en {
			rockchip,pins =
				<3 RK_PC1 RK_FUNC_GPIO &pcfg_output_low>;
		};

		joy_mux_config: joy-mux-config {
			rockchip,pins =
				<3 RK_PC2 RK_FUNC_GPIO &pcfg_pull_none>,
				<3 RK_PC3 RK_FUNC_GPIO &pcfg_pull_none>;
		};
	};

	pmic {
		pmic_int_l: pmic-int-l {
			rockchip,pins =
				<0 RK_PA3 RK_FUNC_GPIO &pcfg_pull_up>;
		};
	};

	sdio-pwrseq {
		wifi_enable_h: wifi-enable-h {
			rockchip,pins =
				<4 RK_PA2 RK_FUNC_GPIO &pcfg_pull_none>;
		};
	};

	sdmmc {
		sdmmc_pwren_l: sdmmc-pwren-l {
			rockchip,pins =
				<0 RK_PA5 RK_FUNC_GPIO &pcfg_pull_none>;
		};

		sdmmc1_pwren_l: sdmmc1-pwren-l {
			rockchip,pins =
				<0 RK_PB7 RK_FUNC_GPIO &pcfg_pull_none>;
		};

		sdmmc1_det_l: sdmmc1-det-l {
			rockchip,pins =
				<0 RK_PC0 RK_FUNC_GPIO &pcfg_pull_up>;
		};
	};

	speaker-amp {
		amp_l_rst: amp-l-rst {
			rockchip,pins =
				<4 RK_PA7 RK_FUNC_GPIO &pcfg_pull_none>;
		};

		amp_r_rst: amp-r-rst {
			rockchip,pins =
				<4 RK_PB2 RK_FUNC_GPIO &pcfg_pull_none>;
		};
	};

	touch {
		touch0_rst: touch0-rst {
			rockchip,pins =
				<0 RK_PA6 RK_FUNC_GPIO &pcfg_pull_up>;
		};

		touch0_irq: touch0-irq {
			rockchip,pins =
				<0 RK_PC6 RK_FUNC_GPIO &pcfg_pull_up>;
		};
	};

	vcc-lcd {
		vdd_lcd0_h: vdd-lcd0-h {
			rockchip,pins =
				<0 RK_PC7 RK_FUNC_GPIO &pcfg_pull_none>;
		};

		vccio_lcd0_h: vccio-lcd0-h {
			rockchip,pins =
				<0 RK_PB0 RK_FUNC_GPIO &pcfg_pull_none>;
		};

		vdd_lcd1_h: vdd-lcd1-h {
			rockchip,pins =
				<0 RK_PC2 RK_FUNC_GPIO &pcfg_pull_none>;
		};

		vccio_lcd1_h: vccio-lcd1-h {
			rockchip,pins =
				<0 RK_PC1 RK_FUNC_GPIO &pcfg_pull_none>;
		};
	};

	vcc-wifi {
		vcc_wifi_h: vcc-wifi-h {
			rockchip,pins =
				<0 RK_PA0 RK_FUNC_GPIO &pcfg_pull_none>;
		};
	};

	wifi-irq {
		wifi_host_wake_irq: wifi-host-wake-irq {
			rockchip,pins =
				<4 RK_PA1 RK_FUNC_GPIO &pcfg_pull_down>;
		};
	};
};

&pmu_io_domains {
	status = "okay";
	pmuio1-supply = <&vcc3v3_pmu>;
	pmuio2-supply = <&vcc3v3_pmu>;
	vccio1-supply = <&vccio_acodec>;
	vccio3-supply = <&vccio_sd>;
	vccio4-supply = <&vcc_3v3>;
	vccio5-supply = <&vcc_3v3>;
	vccio6-supply = <&vcc_1v8>;
	vccio7-supply = <&vcc_3v3>;
};

&pwm1 {
	pinctrl-0 = <&pwm1m1_pins>;
	pinctrl-names = "default";
	status = "okay";
};

&pwm2 {
	pinctrl-0 = <&pwm2m1_pins>;
	pinctrl-names = "default";
	status = "okay";
};

&pwm14 {
	pinctrl-0 = <&pwm14m0_pins>;
	pinctrl-names = "default";
	status = "okay";
};

&saradc {
	vref-supply = <&vcc_1v8>;
	status = "okay";
};

&sdmmc0 {
	bus-width = <4>;
	cap-sd-highspeed;
	cd-gpios = <&gpio0 RK_PA4 GPIO_ACTIVE_LOW>;
	disable-wp;
	pinctrl-0 = <&sdmmc0_bus4 &sdmmc0_clk &sdmmc0_cmd &sdmmc0_det>;
	pinctrl-names = "default";
	/*
	 * Tune the sample clock in 4-degree steps, not the driver's default
	 * 1-degree: at SDR104 every good phase is one tuning block, and 360
	 * of them kept the root card from appearing for 0.4 s.
	 */
	rockchip,desired-num-phases = <90>;
	sd-uhs-sdr104;
	vmmc-supply = <&vcc3v3_sd>;
	vqmmc-supply = <&vccio_sd>;
	status = "okay";
};

&sdmmc1 {
	bus-width = <4>;
	cap-sd-highspeed;
	cd-gpios = <&gpio0 RK_PC0 GPIO_ACTIVE_LOW>;
	disable-wp;
	pinctrl-0 = <&sdmmc1_bus4 &sdmmc1_clk &sdmmc1_cmd &sdmmc1_det_l>;
	pinctrl-names = "default";
	rockchip,desired-num-phases = <90>;
	sd-uhs-sdr104;
	vmmc-supply = <&vcc_sd1>;
	vqmmc-supply = <&vcc1v8_dvp>;
	status = "okay";
};

&sdmmc2 {
	#address-cells = <1>;
	bus-width = <4>;
	cap-sd-highspeed;
	cap-sdio-irq;
	keep-power-in-suspend;
	max-frequency = <100000000>;
	mmc-pwrseq = <&sdio_pwrseq>;
	non-removable;
	pinctrl-0 = <&sdmmc2m0_bus4 &sdmmc2m0_clk &sdmmc2m0_cmd>;
	pinctrl-names = "default";
	sd-uhs-sdr104;
	#size-cells = <0>;
	vmmc-supply = <&vcc_wifi>;
	status = "okay";

	sdio_wifi: wifi@1 {
		reg = <1>;
		interrupt-parent = <&gpio4>;
		interrupts = <RK_PA1 IRQ_TYPE_LEVEL_LOW>;
		interrupt-names = "host-wake";
		pinctrl-0 = <&wifi_host_wake_irq>;
		pinctrl-names = "default";
	};
};

&tsadc {
	rockchip,hw-tshut-mode = <0>;
	rockchip,hw-tshut-polarity = <0>;
	status = "okay";
};

&uart1 {
	pinctrl-0 = <&uart1m1_xfer &uart1m1_ctsn &uart1m1_rtsn>;
	pinctrl-names = "default";
	uart-has-rtscts;
	status = "okay";

	bluetooth {
		compatible = "realtek,rtl8821cs-bt", "realtek,rtl8723bs-bt";
		device-wake-gpios = <&gpio0 RK_PD3 GPIO_ACTIVE_HIGH>;
		enable-gpios = <&gpio0 RK_PD5 GPIO_ACTIVE_HIGH>;
		host-wake-gpios = <&gpio0 RK_PD4 GPIO_ACTIVE_HIGH>;
	};
};

/* No DMA for a debug serial console. */
&uart2 {
	/delete-property/ dmas;
	status = "okay";
};

&usb_host0_xhci {
	dr_mode = "peripheral";
	phy-names = "usb2-phy";
	phys = <&usb2phy0_otg>;
	maximum-speed = "high-speed";
	status = "okay";
};

&usb_host0_ehci {
	status = "okay";
};

&usb_host0_ohci {
	status = "okay";
};

&usb2phy0 {
	status = "okay";
};

&usb2phy0_otg {
	status = "okay";
};

&usb2phy1 {
	status = "okay";
};

&usb2phy1_otg {
	status = "okay";
};

&vop {
	assigned-clocks = <&cru DCLK_VOP0>, <&cru DCLK_VOP1>;
	assigned-clock-parents = <&cru PLL_VPLL>, <&cru PLL_VPLL>;
	status = "okay";
};

&vop_mmu {
	status = "okay";
};

&vp0 {
	vp0_out_dsi0: endpoint@ROCKCHIP_VOP2_EP_MIPI0 {
		reg = <ROCKCHIP_VOP2_EP_MIPI0>;
		remote-endpoint = <&dsi0_in_vp0>;
	};
};

&vp1 {
	vp1_out_dsi1: endpoint@ROCKCHIP_VOP2_EP_MIPI1 {
		reg = <ROCKCHIP_VOP2_EP_MIPI1>;
		remote-endpoint = <&dsi1_in_vp1>;
	};
};
